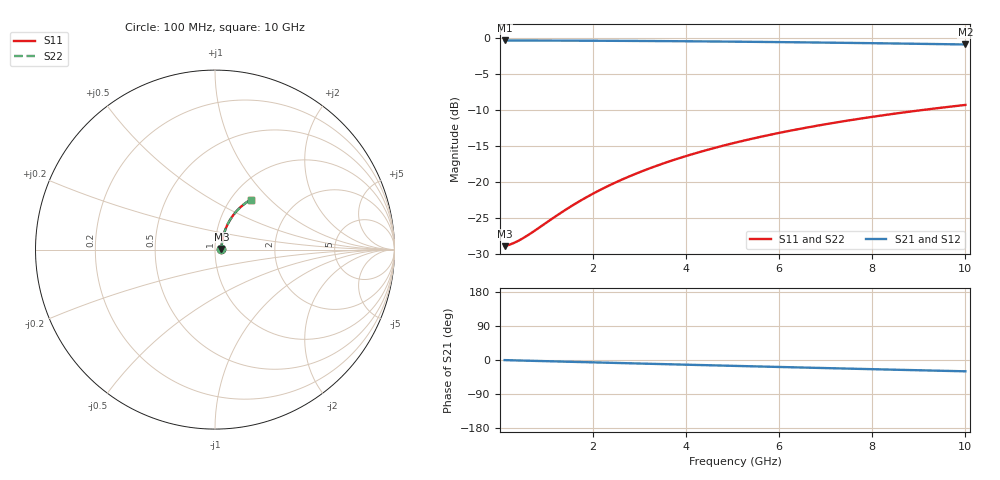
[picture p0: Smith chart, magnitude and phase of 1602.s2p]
# Hz S RI R 50.00
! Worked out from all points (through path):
!   100 points, 100 MHz to 10 GHz, reference 50 ohm
!   highest |S21| = -0.32 dB at 100 MHz (marker M1); lowest = -0.9 dB at 10 GHz (marker M2)
!   group delay of S21, straight-line fit = 8.32 ps
!   lowest |S11| = -28.9 dB at 100 MHz (marker M3), VSWR 1.07, Z = 53.7 + j0.381 ohm
!   |S11| at or under -10 dB: start of sweep to 9.055 GHz
!   |S22| runs from -28.9 to -9.3 dB; largest |S21 - S12| = 0
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1e8  0.0357 0.00355  0.9643 -0.00525  0.9643 -0.00525  0.0357 0.00355
2e8  0.036 0.00709  0.964 -0.0105  0.964 -0.0105  0.036 0.00709
3e8  0.0363 0.0106  0.9637 -0.0157  0.9637 -0.0157  0.0363 0.0106
5e8  0.0368 0.0177  0.9631 -0.0262  0.9631 -0.0262  0.0368 0.0177
7e8  0.0375 0.0247  0.9624 -0.0366  0.9624 -0.0366  0.0375 0.0247
1.2e9  0.0397 0.0423  0.9601 -0.0627  0.9601 -0.0627  0.0397 0.0423
1.4e9  0.0408 0.0493  0.9589 -0.0731  0.9589 -0.0731  0.0408 0.0493
1.8e9  0.0434 0.0631  0.9561 -0.0937  0.9561 -0.0937  0.0434 0.0631
2.2e9  0.0466 0.0768  0.9526 -0.1142  0.9526 -0.1142  0.0466 0.0768
2.6e9  0.0504 0.0903  0.9486 -0.1345  0.9486 -0.1345  0.0504 0.0903
3e9  0.0547 0.1036  0.9439 -0.1546  0.9439 -0.1546  0.0547 0.1036
3.4e9  0.0596 0.1167  0.9387 -0.1745  0.9387 -0.1745  0.0596 0.1167
3.8e9  0.065 0.1294  0.9328 -0.1941  0.9328 -0.1941  0.065 0.1294
4.2e9  0.0709 0.1419  0.9264 -0.2134  0.9264 -0.2134  0.0709 0.1419
4.6e9  0.0773 0.1541  0.9195 -0.2325  0.9195 -0.2325  0.0773 0.1541
5.1e9  0.086 0.1689  0.9101 -0.2558  0.9101 -0.2558  0.086 0.1689
5.9e9  0.1013 0.1913  0.8935 -0.2919  0.8935 -0.2919  0.1013 0.1913
6.7e9  0.1182 0.2121  0.875 -0.3264  0.875 -0.3264  0.1182 0.2121
7.5e9  0.1366 0.2311  0.8549 -0.3592  0.8549 -0.3592  0.1366 0.2311
8.4e9  0.1587 0.2505  0.8307 -0.3941  0.8307 -0.3941  0.1587 0.2505
9.2e9  0.1793 0.2656  0.8079 -0.4231  0.8079 -0.4231  0.1793 0.2656
1e10  0.2008 0.2789  0.784 -0.4503  0.784 -0.4503  0.2008 0.2789
